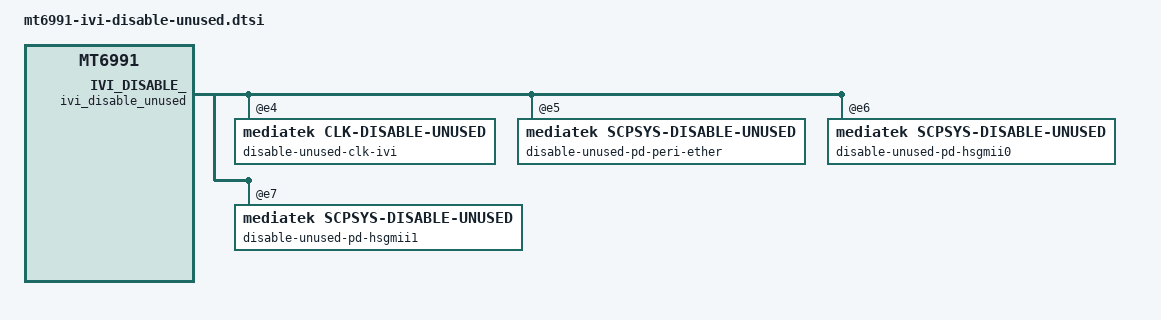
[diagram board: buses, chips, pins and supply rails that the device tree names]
// SPDX-License-Identifier: (GPL-2.0 OR MIT)
/*
 * Copyright (C) 2023 MediaTek Inc.
 * Author: Xiufeng Li <xiufeng.li@mediatek.com>
 */

&ivi_disable_unused {
	status = "okay";
	disable-unused-clk-ivi@e4 {
		compatible = "mediatek,clk-disable-unused";
		reg = <0xe4>;
		clocks = <&ivi_cksys_clk CLK_CK_SGMII0_REF_325M_SEL>,
			<&ivi_cksys_clk CLK_CK_SGMII0_REG_SEL>,
			<&ivi_cksys_clk CLK_CK_SGMII1_REF_325M_SEL>,
			<&ivi_cksys_clk CLK_CK_SGMII1_REG_SEL>,
			<&ivi_cksys_clk CLK_CK_GMAC_312P5M_SEL>,
			<&ivi_cksys_clk CLK_CK_GMAC_125M_SEL>,
			<&ivi_cksys_clk CLK_CK_GMAC_RMII_SEL>,
			<&ivi_cksys_clk CLK_CK_GMAC_62P4M_PTP_SEL>,
			<&ivi_cksys_clk CLK_CK_GMAC_312P5M_SEL_V0>,
			<&ivi_cksys_clk CLK_CK_GMAC_312P5M_SEL_V1>,
			<&ivi_cksys_clk CLK_CK_GMAC_125M_SEL_V0>,
			<&ivi_cksys_clk CLK_CK_GMAC_125M_SEL_V1>,
			<&ivi_cksys_clk CLK_CK_GMAC_RMII_SEL_V0>,
			<&ivi_cksys_clk CLK_CK_GMAC_RMII_SEL_V1>,
			<&ivi_cksys_clk CLK_CK_GMAC_62P4M_PTP_SEL_V0>,
			<&ivi_cksys_clk CLK_CK_GMAC_62P4M_PTP_SEL_V1>,
			<&ivi_cksys2_clk CLK_CK2_DVO_SEL>,
			<&ivi_cksys2_clk CLK_CK2_DVO_FAVT_SEL>;
	};
	disable-unused-pd-peri-ether@e5 {
		compatible = "mediatek,scpsys-disable-unused";
		reg = <0xe5>;
		power-domains = <&ivi_scpsys MT6991_POWER_DOMAIN_PERI_ETHER>;
	};
	disable-unused-pd-hsgmii0@e6 {
		compatible = "mediatek,scpsys-disable-unused";
		reg = <0xe6>;
		power-domains = <&ivi_scpsys MT6991_POWER_DOMAIN_HSGMII0>;
	};
	disable-unused-pd-hsgmii1@e7 {
		compatible = "mediatek,scpsys-disable-unused";
		reg = <0xe7>;
		power-domains = <&ivi_scpsys MT6991_POWER_DOMAIN_HSGMII1>;
	};
};
